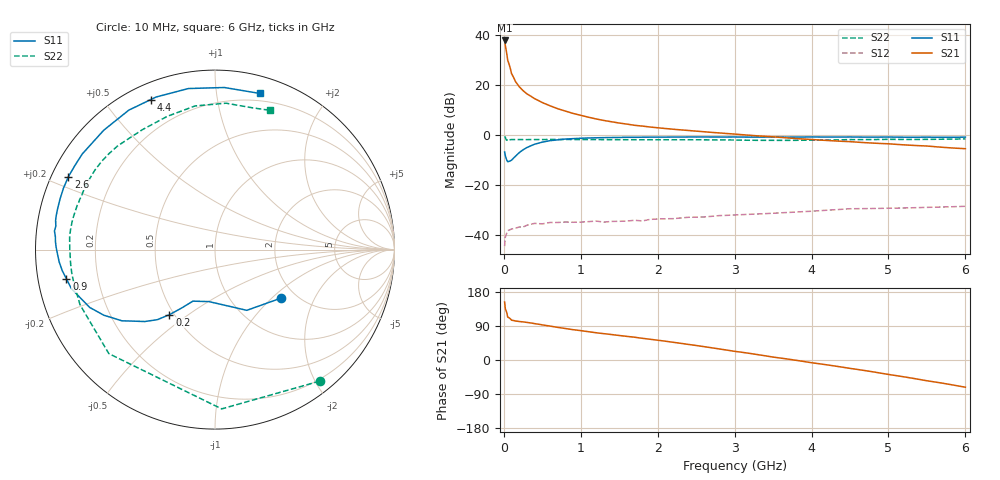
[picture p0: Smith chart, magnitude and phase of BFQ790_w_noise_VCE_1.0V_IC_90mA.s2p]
! Infineon Technologies  Discrete & RF Semiconductors
! BFQ790
! VCE =  1.0 V,  IC =  90 mA
! Common Emitter S-Parameters:  May 2015
# GHz  S  MA  R  50
!  f  S11  S21  S12  S22
! GHz  MAG  ANG  MAG  ANG  MAG  ANG  MAG  ANG
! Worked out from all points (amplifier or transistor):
!   77 points, 10 MHz to 6 GHz, reference 50 ohm
!   highest |S21| = 37.9 dB at 10 MHz (marker M1)
!   |S21| within 3 dB of that: start of sweep to 25.18 MHz
!   unconditionally stable (mu >= 1): 243.1 MHz to 352.9 MHz; 475 MHz to 501 MHz; 1.037 GHz to end of sweep
!   at 130 MHz: K = 0.70, MSG = 30.2 dB, |S12| = -37.5 dB
!   at 2.2 GHz: K = 1.25, MAG = 14.9 dB, |S12| = -33.6 dB
!   at 6 GHz: K = 1.35, MAG = 8.0 dB, |S12| = -28.6 dB
!   lowest NFmin = 2.52 dB at 1.5 GHz
!   S11 on the Smith chart (normalised r, x): 10 MHz: 1.68, -1.14; 200 MHz: 0.47, -0.43; 900 MHz: 0.09, -0.10; 2.6 GHz: 0.05, +0.23; 4.4 GHz: 0.07, +0.66; 6 GHz: 0.14, +1.32
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0.01  0.4564 -36.3  78.5 152.9  0.0059 61.2  0.9365 -51.5
0.02  0.3819 -62.4  61.24 134.3  0.0091 43.3  0.8883 -87.6
0.05  0.2917 -96.5  31.59 113.1  0.0121 24.8  0.8281 -135.6
0.1  0.3125 -113.2  16.99 105.1  0.013 15.8  0.8123 -157.8
0.15  0.3733 -119.6  11.86 103.0  0.0135 15.5  0.8085 -166.3
0.2  0.4427 -125.0  9.283 101.6  0.0143 16.9  0.8087 -170.9
0.25  0.5051 -129.4  7.744 100.5  0.0143 16.0  0.8083 -174.0
0.3  0.56 -134.3  6.671 99.2  0.0155 14.3  0.8077 -176.4
0.4  0.6532 -142.6  5.343 96.0  0.0169 13.3  0.8091 180.0
0.5  0.7188 -149.4  4.463 92.7  0.0165 9.1  0.8106 177.3
0.6  0.7688 -155.2  3.851 89.5  0.0176 9.8  0.8129 175.1
0.7  0.7983 -160.5  3.364 86.1  0.0176 9.3  0.8125 173.0
0.9  0.8439 -168.9  2.704 80.0  0.0178 3.7  0.8111 169.6
1.1  0.871 -175.5  2.27 74.7  0.0183 5.0  0.809 166.4
1.5  0.8928 175.2  1.735 64.7  0.0186 4.0  0.8037 160.9
2.1  0.9065 163.9  1.348 49.6  0.0209 3.0  0.802 152.0
2.6  0.9121 153.5  1.161 35.3  0.0227 -1.6  0.8005 142.3
3.1  0.9082 142.0  1.013 20.2  0.0253 -7.4  0.7875 130.8
4.1  0.9105 119.6  0.793 -9.9  0.0303 -21.2  0.7898 107.3
4.4  0.9092 113.2  0.746 -18.9  0.0324 -26.3  0.8014 100.2
5.1  0.905 96.9  0.649 -41.2  0.0342 -40.0  0.8157 83.7
6  0.9053 73.9  0.531 -71.9  0.0372 -59.4  0.8345 68.4
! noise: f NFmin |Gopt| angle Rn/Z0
0.45  3.79  0.38  129  0.39
0.9  2.73  0.52  163  0.14
1.5  2.52  0.64  -176  0.07
1.8  2.64  0.67  -170  0.08
2.6  3.12  0.72  -153  0.19
3.5  3.78  0.82  -137  0.46
